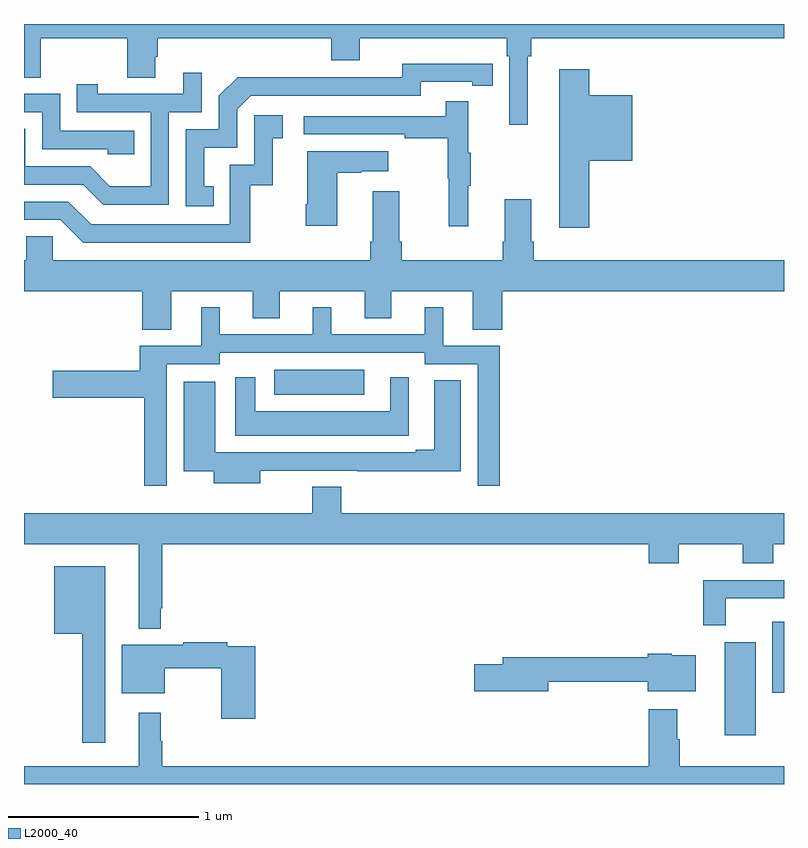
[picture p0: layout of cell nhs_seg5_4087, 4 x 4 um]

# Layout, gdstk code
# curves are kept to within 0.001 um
import gdstk
lib = gdstk.Library(unit=1e-6, precision=1e-09)
def R(c, l, rs):  # rectangles x0, y0, x1, y1
    for r in rs: c.add(gdstk.rectangle(r[:2], r[2:], *l))
def P(c, l, *ps):  # polygons
    for p in ps: c.add(gdstk.Polygon(p, *l))
L2000_40 = (2000, 40)

nhs_seg5_4087 = lib.new_cell('nhs_seg5_4087')
R(nhs_seg5_4087, L2000_40, [(354.689,889.056,354.85,889.546), (354.938,889.278,355,889.654), (352.317,890.849,352.792,890.98)])
P(nhs_seg5_4087, L2000_40, [(353.65,892.628),(353.669,892.628),(353.669,892.724),(355,892.724),(355,892.799),(351,892.799),(351,892.516),(351.087,892.516),(351.087,892.724),(351.544,892.724),(351.544,892.516),(351.691,892.516),(351.691,892.626),(351.704,892.626),(351.704,892.724),(352.616,892.724),(352.616,892.607),(352.768,892.607),(352.768,892.724),(353.54,892.724),(353.54,892.628),(353.553,892.628),(353.553,892.269),(353.65,892.269)],
  [(351.998,891.945),(351.949,891.945),(351.949,892.149),(352.122,892.149),(352.122,892.35),(352.194,892.422),(353.088,892.422),(353.088,892.494),(353.36,892.494),(353.36,892.474),(353.468,892.474),(353.468,892.59),(352.992,892.591),(352.992,892.518),(352.532,892.518),(352.532,892.52),(352.124,892.52),(352.026,892.422),(352.026,892.245),(351.852,892.245),(351.852,891.84),(351.998,891.84)],
  [(353.975,892.079),(354.202,892.079),(354.202,892.423),(353.975,892.423),(353.975,892.561),(353.816,892.561),(353.816,891.726),(353.975,891.726)],
  [(351.762,892.335),(351.936,892.335),(351.936,892.543),(351.839,892.543),(351.839,892.431),(351.388,892.431),(351.388,892.483),(351.277,892.483),(351.277,892.335),(351.666,892.335),(351.666,891.946),(351.452,891.946),(351.348,892.05),(351.006,892.05),(351.006,892.249),(351,892.249),(351,891.954),(351.311,891.954),(351.416,891.849),(351.762,891.849)],
  [(351.581,892.236),(351.192,892.236),(351.192,892.431),(351,892.431),(351,892.335),(351.096,892.335),(351.096,892.14),(351.441,892.14),(351.441,892.113),(351.581,892.113)],
  [(353.339,891.947),(353.35,891.947),(353.35,892.121),(353.339,892.121),(353.339,892.393),(353.221,892.393),(353.221,892.314),(352.473,892.314),(352.473,892.218),(353.005,892.218),(353.005,892.198),(353.229,892.198),(353.229,891.984),(353.236,891.984),(353.236,891.735),(353.339,891.735)],
  [(352.192,891.951),(352.31,891.951),(352.31,892.197),(352.363,892.197),(352.363,892.318),(352.212,892.318),(352.212,892.059),(352.083,892.059),(352.083,891.744),(351.354,891.744),(351.234,891.864),(351,891.864),(351,891.768),(351.192,891.768),(351.312,891.648),(352.192,891.648)],
  [(352.648,892.015),(352.775,892.015),(352.775,892.025),(352.918,892.025),(352.918,892.129),(352.49,892.129),(352.49,891.85),(352.483,891.85),(352.483,891.738),(352.648,891.738)],
  [(352.835,891.919),(352.835,891.652),(352.823,891.652),(352.823,891.556),(351.15,891.556),(351.15,891.683),(351.011,891.683),(351.011,891.556),(351,891.556),(351,891.392),(351.623,891.392),(351.623,891.19),(351.775,891.19),(351.775,891.392),(352.205,891.392),(352.205,891.25),(352.345,891.25),(352.345,891.392),(352.793,891.392),(352.793,891.25),(352.933,891.25),(352.933,891.392),(353.363,891.392),(353.363,891.19),(353.516,891.19),(353.516,891.392),(355,891.392),(355,891.556),(353.684,891.556),(353.684,891.652),(353.671,891.652),(353.671,891.877),(353.531,891.877),(353.531,891.652),(353.519,891.652),(353.519,891.556),(352.988,891.556),(352.988,891.652),(352.975,891.652),(352.975,891.919)],
  [(351.75,891.009),(352.029,891.009),(352.029,891.069),(353.109,891.069),(353.109,891.009),(353.388,891.009),(353.388,890.37),(353.504,890.37),(353.504,891.105),(353.206,891.105),(353.206,891.307),(353.108,891.307),(353.108,891.165),(352.618,891.165),(352.618,891.307),(352.52,891.307),(352.52,891.165),(352.03,891.165),(352.03,891.307),(351.932,891.307),(351.932,891.105),(351.608,891.105),(351.608,890.973),(351.15,890.973),(351.15,890.831),(351.634,890.831),(351.634,890.37),(351.75,890.37)],
  [(353.026,890.941),(352.928,890.941),(352.928,890.761),(352.216,890.761),(352.216,890.941),(352.112,890.941),(352.112,890.633),(353.026,890.633)],
  [(352.243,890.448),(352.753,890.448),(352.753,890.446),(353.299,890.446),(353.299,890.923),(353.159,890.923),(353.159,890.557),(353.063,890.557),(353.063,890.544),(352.006,890.544),(352.006,890.917),(351.842,890.917),(351.842,890.446),(351.998,890.446),(351.998,890.381),(352.243,890.381)],
  [(352.67,890.363),(352.517,890.363),(352.517,890.224),(351,890.224),(351,890.06),(351.605,890.06),(351.605,889.616),(351.72,889.616),(351.72,889.723),(351.727,889.723),(351.727,890.06),(354.287,890.06),(354.287,889.961),(354.447,889.961),(354.447,890.06),(354.784,890.06),(354.784,889.961),(354.944,889.961),(354.944,890.06),(355,890.06),(355,890.224),(352.67,890.224)],
  [(351.427,889.945),(351.158,889.945),(351.158,889.589),(351.306,889.589),(351.306,889.017),(351.427,889.017)],
  [(354.693,889.776),(355,889.776),(355,889.872),(354.574,889.872),(354.574,889.635),(354.693,889.635)],
  [(352.217,889.524),(352.07,889.524),(352.07,889.544),(351.838,889.544),(351.838,889.531),(351.515,889.531),(351.515,889.277),(351.742,889.277),(351.742,889.408),(352.039,889.408),(352.039,889.143),(352.217,889.143)],
  [(354.535,889.477),(354.41,889.477),(354.41,889.485),(354.284,889.485),(354.284,889.466),(353.519,889.466),(353.519,889.43),(353.37,889.43),(353.37,889.288),(353.758,889.288),(353.758,889.338),(354.284,889.338),(354.284,889.286),(354.535,889.286)],
  [(351.727,889.025),(351.719,889.025),(351.719,889.174),(351.605,889.174),(351.605,888.892),(351,888.892),(351,888.799),(355,888.799),(355,888.892),(354.452,888.892),(354.452,889.034),(354.439,889.034),(354.439,889.192),(354.287,889.192),(354.287,888.892),(351.727,888.892)])

lib.write_gds('nhs_seg5_4087.gds')
